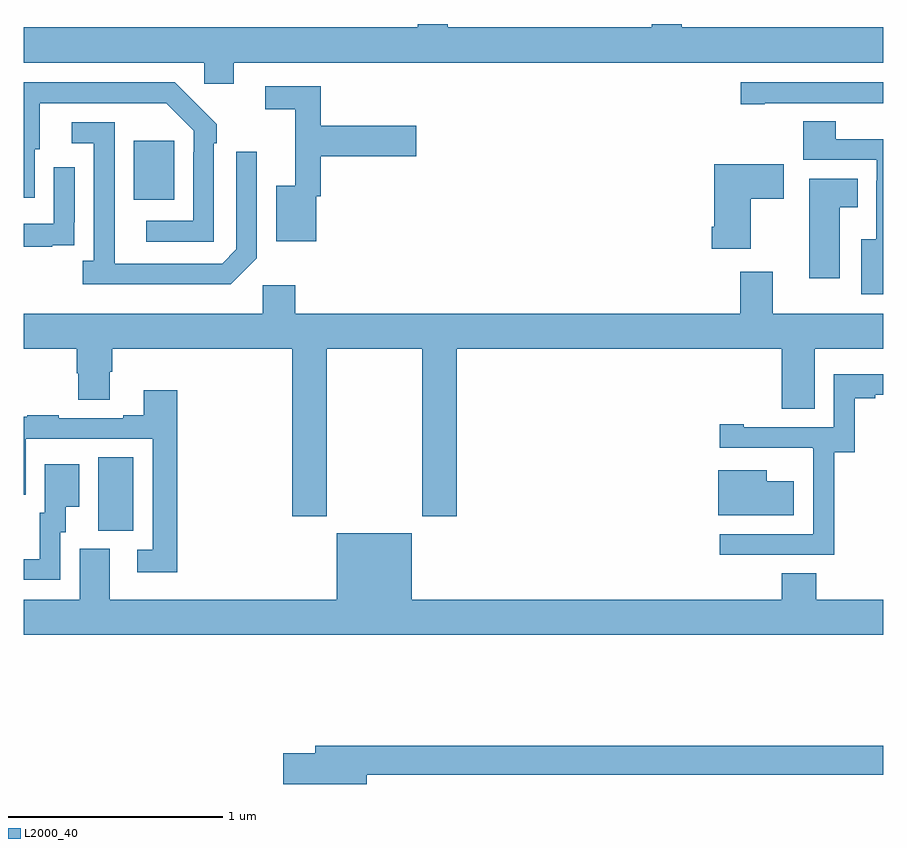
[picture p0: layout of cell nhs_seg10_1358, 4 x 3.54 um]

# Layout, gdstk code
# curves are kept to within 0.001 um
import gdstk
lib = gdstk.Library(unit=1e-6, precision=1e-09)
def R(c, l, rs):  # rectangles x0, y0, x1, y1
    for r in rs: c.add(gdstk.rectangle(r[:2], r[2:], *l))
def P(c, l, *ps):  # polygons
    for p in ps: c.add(gdstk.Polygon(p, *l))
L2000_40 = (2000, 40)

nhs_seg10_1358 = lib.new_cell('nhs_seg10_1358')
R(nhs_seg10_1358, L2000_40, [(181.346,1294.141,181.51,1294.484), (181.511,1295.681,181.699,1295.956)])
P(nhs_seg10_1358, L2000_40, [(181.978,1296.32),(185,1296.32),(185,1296.484),(184.063,1296.484),(184.063,1296.5),(183.923,1296.5),(183.923,1296.484),(182.973,1296.484),(182.973,1296.5),(182.834,1296.5),(182.834,1296.484),(181,1296.484),(181,1296.32),(181.839,1296.32),(181.839,1296.222),(181.978,1296.222)],
  [(181.884,1295.945),(181.899,1295.945),(181.899,1296.033),(181.702,1296.228),(181,1296.228),(181,1295.691),(181.051,1295.691),(181.051,1295.916),(181.075,1295.916),(181.075,1296.132),(181.663,1296.132),(181.791,1296.003),(181.791,1295.903),(181.788,1295.903),(181.788,1295.583),(181.569,1295.583),(181.569,1295.487),(181.884,1295.487)],
  [(184.45,1296.132),(185,1296.132),(185,1296.228),(184.338,1296.228),(184.338,1296.127),(184.45,1296.127)],
  [(182.362,1295.697),(182.381,1295.697),(182.381,1295.885),(182.827,1295.885),(182.827,1296.027),(182.381,1296.027),(182.381,1296.21),(182.124,1296.21),(182.124,1296.102),(182.264,1296.102),(182.264,1295.746),(182.174,1295.746),(182.174,1295.489),(182.362,1295.489)],
  [(185,1295.964),(184.78,1295.964),(184.78,1296.047),(184.628,1296.047),(184.628,1295.868),(184.971,1295.868),(184.971,1295.771),(184.967,1295.771),(184.967,1295.497),(184.898,1295.497),(184.898,1295.243),(185,1295.243)],
  [(182.085,1295.409),(182.085,1295.905),(181.989,1295.905),(181.989,1295.451),(181.923,1295.385),(181.423,1295.385),(181.422,1296.042),(181.224,1296.042),(181.224,1295.946),(181.326,1295.946),(181.326,1295.398),(181.275,1295.398),(181.275,1295.288),(181.964,1295.288)],
  [(184.384,1295.686),(184.537,1295.686),(184.537,1295.848),(184.214,1295.848),(184.214,1295.557),(184.202,1295.557),(184.202,1295.453),(184.384,1295.453)],
  [(181.133,1295.469),(181.235,1295.469),(181.235,1295.578),(181.236,1295.578),(181.236,1295.833),(181.14,1295.833),(181.14,1295.571),(181,1295.571),(181,1295.463),(181.133,1295.463)],
  [(184.798,1295.648),(184.882,1295.648),(184.882,1295.779),(184.655,1295.779),(184.655,1295.316),(184.798,1295.316)],
  [(182.409,1294.988),(182.854,1294.988),(182.854,1294.209),(183.014,1294.209),(183.014,1294.988),(184.529,1294.988),(184.529,1294.708),(184.681,1294.708),(184.681,1294.988),(185,1294.988),(185,1295.152),(184.486,1295.152),(184.486,1295.347),(184.334,1295.347),(184.334,1295.152),(182.264,1295.152),(182.264,1295.284),(182.112,1295.284),(182.112,1295.152),(181,1295.152),(181,1294.988),(181.247,1294.988),(181.247,1294.875),(181.252,1294.875),(181.252,1294.75),(181.399,1294.75),(181.399,1294.882),(181.412,1294.882),(181.412,1294.988),(182.249,1294.988),(182.249,1294.209),(182.409,1294.209)],
  [(184.773,1294.507),(184.867,1294.507),(184.867,1294.758),(184.963,1294.758),(184.963,1294.773),(185,1294.773),(185,1294.869),(184.77,1294.869),(184.77,1294.623),(184.351,1294.623),(184.351,1294.636),(184.239,1294.636),(184.239,1294.527),(184.673,1294.527),(184.673,1294.526),(184.674,1294.526),(184.674,1294.125),(184.239,1294.125),(184.239,1294.029),(184.773,1294.029)],
  [(181.715,1294.795),(181.559,1294.795),(181.559,1294.678),(181.463,1294.678),(181.463,1294.665),(181.163,1294.665),(181.163,1294.678),(181.015,1294.678),(181.015,1294.671),(181,1294.671),(181,1294.308),(181.008,1294.308),(181.008,1294.569),(181.599,1294.569),(181.599,1294.053),(181.527,1294.053),(181.527,1293.948),(181.715,1293.948)],
  [(181.17,1294.134),(181.195,1294.134),(181.195,1294.253),(181.258,1294.253),(181.258,1294.45),(181.097,1294.45),(181.097,1294.224),(181.073,1294.224),(181.073,1294.008),(181,1294.008),(181,1293.912),(181.17,1293.912)],
  [(184.585,1294.372),(184.459,1294.372),(184.459,1294.423),(184.232,1294.423),(184.232,1294.214),(184.585,1294.214)],
  [(185,1293.82),(184.689,1293.82),(184.689,1293.944),(184.529,1293.944),(184.529,1293.82),(182.806,1293.82),(182.806,1294.129),(182.456,1294.129),(182.456,1293.82),(181.399,1293.82),(181.399,1294.056),(181.259,1294.056),(181.259,1293.82),(181,1293.82),(181,1293.656),(185,1293.656)],
  [(182.596,1293.004),(185,1293.004),(185,1293.14),(182.357,1293.14),(182.357,1293.104),(182.208,1293.104),(182.208,1292.962),(182.596,1292.962)])

lib.write_gds('nhs_seg10_1358.gds')
